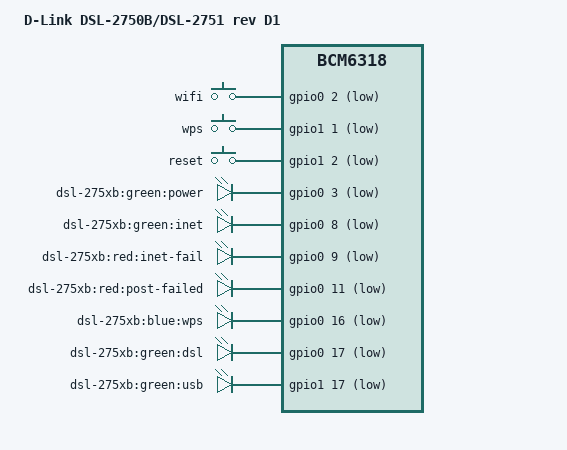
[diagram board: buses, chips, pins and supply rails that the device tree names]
/dts-v1/;

/include/ "bcm6318.dtsi"

/ {
	model = "D-Link DSL-2750B/DSL-2751 rev D1";
	compatible = "d-link,dsl-275xb-d", "brcm,bcm6318";

	gpio-keys-polled {
		compatible = "gpio-keys-polled";
		#address-cells = <1>;
		#size-cells = <0>;
		poll-interval = <20>;
		debounce-interval = <60>;

		wifi {
			label = "wifi";
			gpios = <&gpio0 2 1>;
			linux,code = <0xee>;
		};

		wps {
			label = "wps";
			gpios = <&gpio1 1 1>;
			linux,code = <0x211>;
		};

		reset {
			label = "reset";
			gpios = <&gpio1 2 1>;
			linux,code = <0x198>;
		};
	};

	gpio-leds {
		compatible = "gpio-leds";

		power_green {
			label = "dsl-275xb:green:power";
			gpios = <&gpio0 3 1>;
			default-state = "on";
		};

		inet_green {
			label = "dsl-275xb:green:inet";
			gpios = <&gpio0 8 1>;
		};

		inet_red {
			label = "dsl-275xb:red:inet-fail";
			gpios = <&gpio0 9 1>;
		};

		power_red {
			label = "dsl-275xb:red:post-failed";
			gpios = <&gpio0 11 1>;
		};

		wps_blue {
			label = "dsl-275xb:blue:wps";
			gpios = <&gpio0 16 1>;
		};

		dsl_green {
			label = "dsl-275xb:green:dsl";
			gpios = <&gpio0 17 1>;
		};

		usb_green {
			/* not user controllable? */
			label = "dsl-275xb:green:usb";
			gpios = <&gpio1 17 1>;
		};
	};
};
